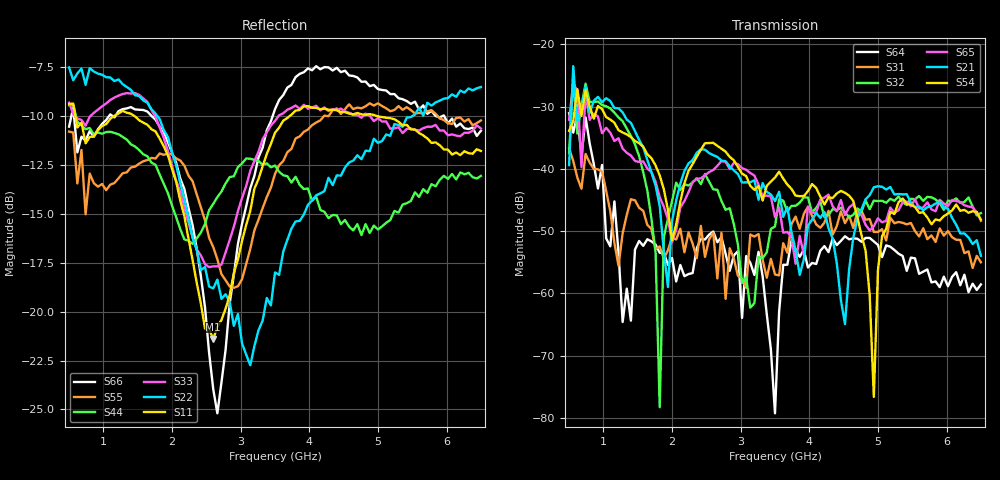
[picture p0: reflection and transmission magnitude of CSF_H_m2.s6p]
!Keysight Technologies,M9804A,MY58100912,A.14.10.03
!Date: Thursday, April 27, 2023 10:28:33
!Correction: S11(C  6-Port  )
!S12(C  6-Port  )
!S13(C  6-Port  )
!S14(C  6-Port  )
!S15(C  6-Port  )
!S16(C  6-Port  )
!S21(C  6-Port  )
!S22(C  6-Port  )
!S23(C  6-Port  )
!S24(C  6-Port  )
!S25(C  6-Port  )
!S26(C  6-Port  )
!S31(C  6-Port  )
!S32(C  6-Port  )
!S33(C  6-Port  )
!S34(C  6-Port  )
!S35(C  6-Port  )
!S36(C  6-Port  )
!S41(C  6-Port  )
!S42(C  6-Port  )
!S43(C  6-Port  )
!S44(C  6-Port  )
!S45(C  6-Port  )
!S46(C  6-Port  )
!S51(C  6-Port  )
!S52(C  6-Port  )
!S53(C  6-Port  )
!S54(C  6-Port  )
!S55(C  6-Port  )
!S56(C  6-Port  )
!S61(C  6-Port  )
!S62(C  6-Port  )
!S63(C  6-Port  )
!S64(C  6-Port  )
!S65(C  6-Port  )
!S66(C  6-Port  )
!S6P File: Measurement: :
# Hz S  RI  R 50
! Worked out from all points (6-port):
!   101 points, 500 MHz to 6.5 GHz, reference 50 ohm
!   strongest paths, dB at 500 MHz, 2 GHz, 3.5 GHz, 5 GHz, 6.5 GHz:
!     S54: -33.9, -51.5, -41.4, -56.2, -48.1
!     S21: -39.4, -48.3, -45.2, -42.8, -53.9
!     S65: -32.1, -51.8, -47.8, -47.9, -48.3
!     S32: -37.4, -45.2, -49.2, -45.2, -47.1
!     S31: -36.7, -51.0, -56.9, -50.1, -55.0
!     S64: -31.0, -54.3, -79.2, -52.2, -58.5
!   lowest |S11| = -21.4 dB at 2.6 GHz (marker M1), VSWR 1.19, Z = 42.5 + j2.3 ohm
!   |S11| at or under -10 dB: 591.9 MHz to 1.149 GHz (556.6 MHz wide, 64 % of centre); 1.458 GHz to 3.711 GHz (2.253 GHz wide, 87.2 % of centre); 4.995 GHz to end of sweep
